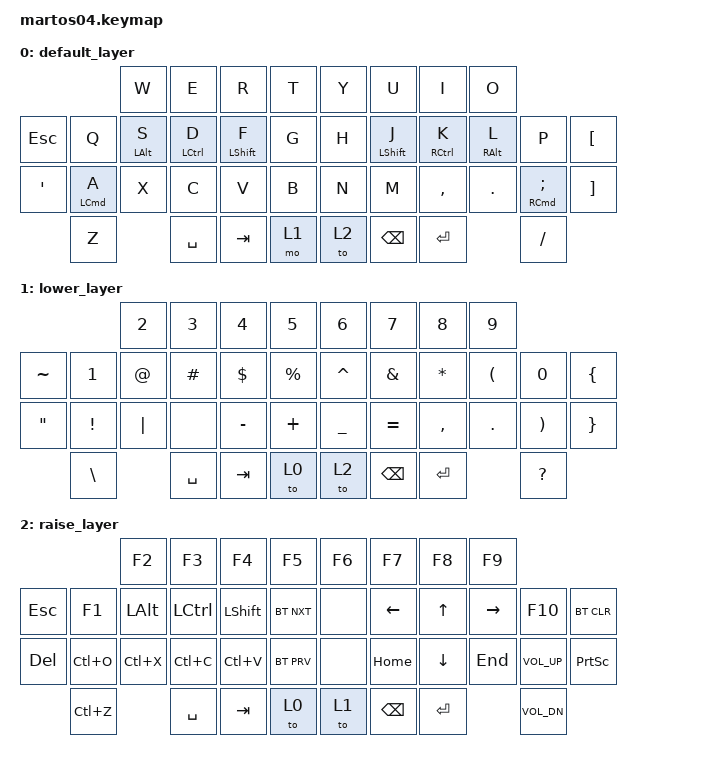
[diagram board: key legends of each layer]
#include <behaviors.dtsi>
#include <dt-bindings/zmk/keys.h>
#include <dt-bindings/zmk/bt.h>

#define DEFAULT 0
#define LOWER   1
#define RAISE   2

#define L_F &ht_tp LSHIFT F
#define L_D &ht_tp LCTRL D
#define L_S &ht_tp LALT S
#define L_A &ht_tp LEFT_COMMAND A

#define R_J &ht_tp LSHIFT J
#define R_K &ht_tp RCTRL K
#define R_L &ht_tp RALT L
#define R_SEMI &ht_tp RIGHT_COMMAND SEMI


/ {
    behaviors {
            ht_tp: hold_tap_tap_preferred {
                compatible = "zmk,behavior-hold-tap";
                #binding-cells = <2>;
                flavor = "tap-preferred";
                tapping-term-ms = <200>;
                bindings = <&kp>, <&kp>;
            };
        };
    keymap {
        compatible = "zmk,keymap";

        default_layer {
// --------------------------------------------------------------------------------------------------------------------------------------------------------------------
// |		 |         |    W    |    E    |    R    |    T    |		|    Y    |    U    |    I    |    O    |         |         |
// |   ESC   |    Q    |    S    |    D    |    F    |    G    |		|    H    |    J    |    K    |    L    |    P    |    [    |
// |    '    |    A    |    X    |    C    |    V    |    B    | 		|    N    |    M    |    ,    |    .    |    ;    |    ]    |
// |		 |    Z    |         |  SPACE  |   TAB   |    lup  | 		|    lup  |   BSPC  |  RETURN |         |    /    |			|

            bindings = <
						&kp W		&kp E		&kp R	&kp T				&kp Y	&kp U		&kp I		&kp O
    &kp ESC		&kp Q	L_S		    L_D	    	L_F	    &kp G				&kp H	R_J		    R_K		    R_L		    &kp P		&kp LBKT
    &kp SQT		L_A	    &kp X		&kp C		&kp V	&kp B				&kp N	&kp M		&kp COMMA	&kp DOT		R_SEMI	    &kp RBKT
				&kp Z				&kp SPACE	&kp TAB	&mo 1				&to 2	&kp BSPC	&kp RETURN				&kp FSLH
            >;
        };

		lower_layer {
            bindings = <
							&kp N2		&kp N3		&kp N4		&kp N5				&kp N6		&kp N7		&kp N8		&kp N9
    &kp TILDE 	&kp N1		&kp AT 		&kp HASH 	&kp DLLR	&kp PRCNT 			&kp CARET	&kp AMPS 	&kp ASTRK 	&kp LPAR 	&kp N0		&kp LBRC
    &kp DQT		&kp EXCL	&kp PIPE 	&none		&kp MINUS 	&kp PLUS 			&kp UNDER 	&kp EQUAL 	&kp COMMA	&kp DOT		&kp RPAR 	&kp RBRC
				&kp BSLH 				&kp SPACE	&kp TAB		&to 0				&to 2		&kp BSPC	&kp RETURN				&kp QMARK
            >;
        };

// weird behavior of colemak virtual layout on windows which sends qwerty keycode, for example CTRL + J on LC(Y)
        raise_layer {
            bindings = <
							&kp F2		&kp F3		&kp F4		&kp F5				&kp F6	&kp F7		&kp F8		&kp F9
    &kp ESC		&kp F1		&kp LALT	&kp LCTRL	&kp LSHIFT	&bt BT_NXT			&none	&kp LEFT	&kp UP		&kp RIGHT	&kp F10			&bt BT_CLR
    &kp DEL 	&kp LC(O)	&kp LC(X) 	&kp LC(C) 	&kp LC(V)	&bt BT_PRV			&none	&kp HOME 	&kp DOWN	&kp END 	&kp C_VOL_UP 	&kp PSCRN
				&kp LC(Z) 				&kp SPACE	&kp TAB		&to 0				&to 1	&kp BSPC	&kp RETURN				&kp C_VOL_DN
            >;
        };
    };
};
